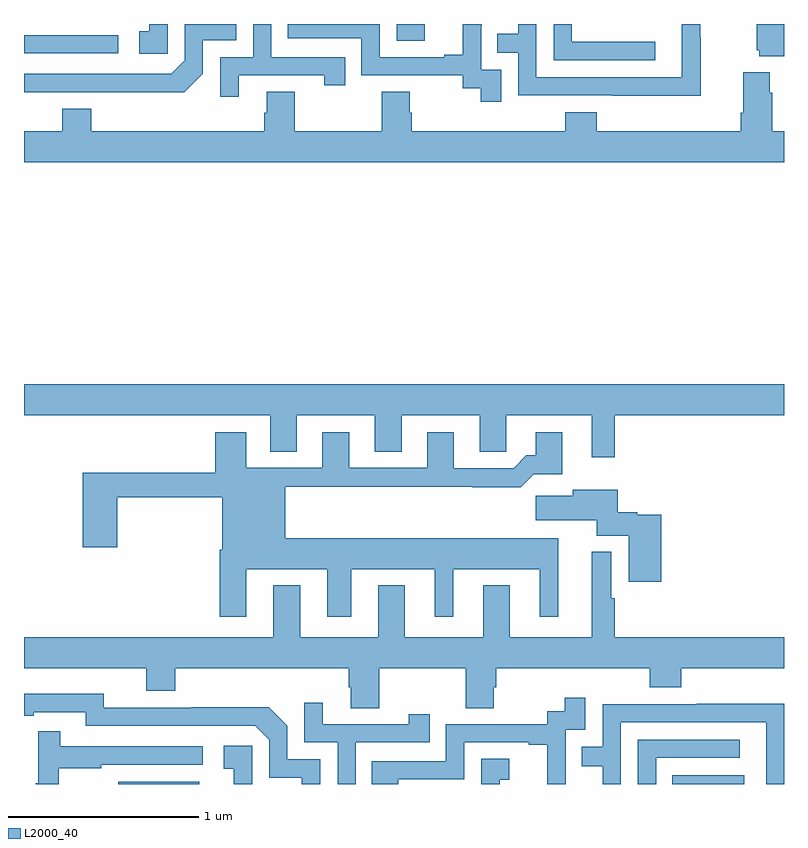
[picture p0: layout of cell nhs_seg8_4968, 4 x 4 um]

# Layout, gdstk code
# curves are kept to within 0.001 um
import gdstk
lib = gdstk.Library(unit=1e-6, precision=1e-09)
def R(c, l, rs):  # rectangles x0, y0, x1, y1
    for r in rs: c.add(gdstk.rectangle(r[:2], r[2:], *l))
def P(c, l, *ps):  # polygons
    for p in ps: c.add(gdstk.Polygon(p, *l))
L2000_40 = (2000, 40)

nhs_seg8_4968 = lib.new_cell('nhs_seg8_4968')
R(nhs_seg8_4968, L2000_40, [(411.495,1107.9,411.922,1107.913), (414.412,1107.9,414.79,1107.946), (411,1111.746,411.496,1111.842), (412.962,1111.812,413.11,1111.9), (413.968,1111.898,414.346,1111.9)])
P(nhs_seg8_4968, L2000_40, [(415,1111.9),(414.857,1111.9),(414.857,1111.761),(414.869,1111.761),(414.869,1111.73),(415,1111.73)],
  [(414.322,1111.806),(413.883,1111.806),(413.883,1111.9),(413.787,1111.9),(413.787,1111.71),(414.322,1111.71)],
  [(412.129,1111.629),(412.58,1111.629),(412.58,1111.578),(412.691,1111.578),(412.691,1111.725),(412.302,1111.725),(412.302,1111.9),(412.206,1111.9),(412.206,1111.725),(412.032,1111.725),(412.032,1111.518),(412.129,1111.518)],
  [(411.942,1111.638),(411.942,1111.815),(412.116,1111.815),(412.116,1111.9),(411.846,1111.9),(411.846,1111.71),(411.774,1111.638),(411,1111.638),(411,1111.542),(411.436,1111.542),(411.436,1111.541),(411.844,1111.541)],
  [(414.561,1111.829),(414.558,1111.829),(414.558,1111.9),(414.462,1111.9),(414.462,1111.62),(413.697,1111.62),(413.697,1111.9),(413.601,1111.9),(413.601,1111.85),(413.491,1111.85),(413.491,1111.749),(413.601,1111.749),(413.601,1111.524),(414.097,1111.524),(414.097,1111.523),(414.561,1111.523)],
  [(411.756,1111.9),(411.659,1111.9),(411.659,1111.863),(411.606,1111.863),(411.606,1111.743),(411.756,1111.743)],
  [(413.511,1111.659),(413.406,1111.659),(413.406,1111.889),(413.408,1111.889),(413.408,1111.9),(413.309,1111.9),(413.309,1111.738),(413.213,1111.738),(413.213,1111.725),(412.872,1111.725),(412.872,1111.9),(412.387,1111.9),(412.387,1111.824),(412.776,1111.824),(412.776,1111.629),(413.31,1111.629),(413.31,1111.561),(413.403,1111.561),(413.403,1111.491),(413.511,1111.491)],
  [(415,1111.336),(414.938,1111.336),(414.938,1111.538),(414.925,1111.538),(414.925,1111.645),(414.785,1111.645),(414.785,1111.432),(414.773,1111.432),(414.773,1111.336),(414.014,1111.336),(414.014,1111.435),(413.849,1111.435),(413.849,1111.336),(413.042,1111.336),(413.042,1111.434),(413.029,1111.434),(413.029,1111.544),(412.882,1111.544),(412.882,1111.336),(412.425,1111.336),(412.425,1111.544),(412.277,1111.544),(412.277,1111.434),(412.265,1111.434),(412.265,1111.336),(411.353,1111.336),(411.353,1111.453),(411.2,1111.453),(411.2,1111.336),(411,1111.336),(411,1111.172),(415,1111.172)],
  [(414.109,1109.84),(415,1109.84),(415,1110.004),(411,1110.004),(411,1109.84),(412.295,1109.84),(412.295,1109.65),(412.435,1109.65),(412.435,1109.84),(412.847,1109.84),(412.847,1109.65),(412.987,1109.65),(412.987,1109.84),(413.399,1109.84),(413.399,1109.65),(413.538,1109.65),(413.538,1109.84),(413.987,1109.84),(413.987,1109.619),(414.109,1109.619)],
  [(412.171,1109.03),(412.595,1109.03),(412.595,1108.779),(412.723,1108.779),(412.723,1109.03),(413.162,1109.03),(413.162,1108.779),(413.26,1108.779),(413.26,1109.03),(413.714,1109.03),(413.714,1108.779),(413.812,1108.779),(413.812,1109.194),(412.375,1109.194),(412.375,1109.464),(413.359,1109.464),(413.359,1109.462),(413.615,1109.462),(413.684,1109.531),(413.833,1109.531),(413.833,1109.752),(413.693,1109.752),(413.693,1109.629),(413.644,1109.629),(413.577,1109.562),(413.263,1109.562),(413.263,1109.752),(413.123,1109.752),(413.123,1109.565),(412.711,1109.565),(412.711,1109.752),(412.571,1109.752),(412.571,1109.565),(412.171,1109.565),(412.171,1109.752),(412.007,1109.752),(412.007,1109.539),(411.308,1109.539),(411.308,1109.145),(411.491,1109.145),(411.491,1109.41),(412.043,1109.41),(412.043,1109.134),(412.031,1109.134),(412.031,1108.779),(412.171,1108.779)],
  [(414.353,1109.317),(414.228,1109.317),(414.228,1109.33),(414.124,1109.33),(414.124,1109.449),(413.888,1109.449),(413.888,1109.417),(413.694,1109.417),(413.694,1109.288),(414.014,1109.288),(414.014,1109.207),(414.182,1109.207),(414.182,1108.965),(414.353,1108.965)],
  [(412.869,1108.508),(413.326,1108.508),(413.326,1108.3),(413.473,1108.3),(413.473,1108.41),(413.486,1108.41),(413.486,1108.508),(414.293,1108.508),(414.293,1108.409),(414.458,1108.409),(414.458,1108.508),(415,1108.508),(415,1108.672),(414.109,1108.672),(414.109,1108.877),(414.091,1108.877),(414.091,1109.122),(413.987,1109.122),(413.987,1108.672),(413.557,1108.672),(413.557,1108.945),(413.417,1108.945),(413.417,1108.672),(413.005,1108.672),(413.005,1108.945),(412.865,1108.945),(412.865,1108.672),(412.453,1108.672),(412.453,1108.945),(412.313,1108.945),(412.313,1108.672),(411,1108.672),(411,1108.508),(411.644,1108.508),(411.644,1108.391),(411.797,1108.391),(411.797,1108.508),(412.709,1108.508),(412.709,1108.41),(412.721,1108.41),(412.721,1108.3),(412.869,1108.3)],
  [(412.56,1108.029),(412.386,1108.029),(412.386,1108.206),(412.288,1108.304),(411.88,1108.304),(411.88,1108.302),(411.42,1108.302),(411.42,1108.375),(411,1108.374),(411,1108.258),(411.052,1108.258),(411.052,1108.278),(411.324,1108.278),(411.324,1108.206),(412.218,1108.206),(412.29,1108.134),(412.29,1107.933),(412.463,1107.933),(412.463,1107.9),(412.56,1107.9)],
  [(412.971,1107.924),(413.316,1107.924),(413.316,1108.119),(413.657,1108.119),(413.657,1108.107),(413.753,1108.107),(413.753,1107.9),(413.852,1107.9),(413.852,1107.956),(413.85,1107.956),(413.85,1108.185),(413.955,1108.185),(413.955,1108.354),(413.847,1108.354),(413.847,1108.284),(413.754,1108.284),(413.754,1108.215),(413.22,1108.215),(413.22,1108.02),(412.831,1108.02),(412.831,1107.9),(412.971,1107.9)],
  [(412.746,1108.119),(413.135,1108.119),(413.135,1108.267),(413.024,1108.267),(413.024,1108.215),(412.573,1108.215),(412.573,1108.327),(412.476,1108.327),(412.476,1108.119),(412.65,1108.119),(412.65,1107.9),(412.746,1107.9)],
  [(414.141,1108.224),(414.906,1108.224),(414.906,1107.9),(415,1107.9),(415,1108.322),(414.541,1108.322),(414.541,1108.32),(414.045,1108.32),(414.045,1108.095),(413.935,1108.095),(413.935,1107.994),(414.045,1107.994),(414.045,1107.9),(414.141,1107.9)],
  [(411.184,1107.982),(411.407,1107.982),(411.407,1108.002),(411.94,1108.002),(411.94,1108.098),(411.191,1108.098),(411.191,1108.177),(411.074,1108.177),(411.074,1107.905),(411.063,1107.905),(411.063,1107.9),(411.184,1107.9)],
  [(414.327,1108.038),(414.766,1108.038),(414.766,1108.134),(414.231,1108.134),(414.231,1107.9),(414.327,1107.9)],
  [(412.2,1108.102),(412.05,1108.102),(412.05,1107.981),(412.103,1107.981),(412.103,1107.9),(412.2,1107.9)],
  [(413.505,1107.923),(413.554,1107.923),(413.554,1108.033),(413.406,1108.033),(413.406,1107.9),(413.505,1107.9)])

lib.write_gds('nhs_seg8_4968.gds')
